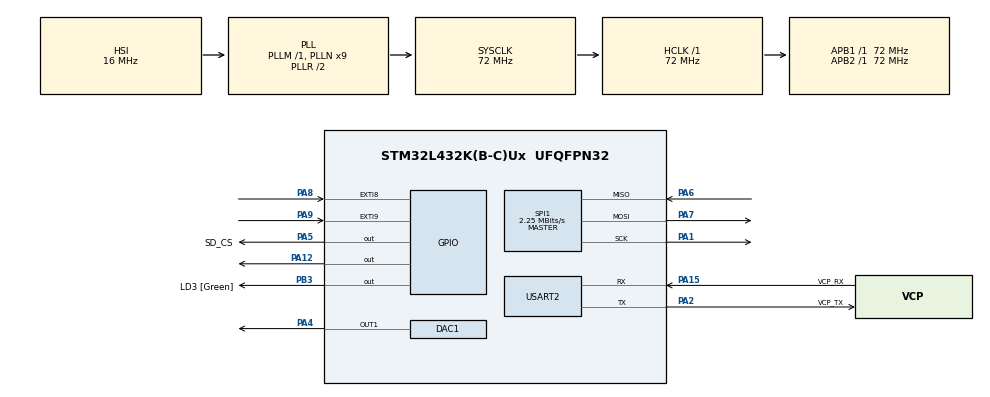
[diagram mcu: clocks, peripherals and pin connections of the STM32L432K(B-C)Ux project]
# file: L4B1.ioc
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DAC1.DAC_SampleAndHold-DAC_OUT1=DAC_SAMPLEANDHOLD_DISABLE
DAC1.DAC_Trigger-DAC_OUT1=DAC_TRIGGER_T2_TRGO
Dma.DAC_CH1.0.Direction=DMA_MEMORY_TO_PERIPH
Dma.DAC_CH1.0.Instance=DMA1_Channel3
Dma.DAC_CH1.0.MemDataAlignment=DMA_MDATAALIGN_BYTE
Dma.DAC_CH1.0.MemInc=DMA_MINC_ENABLE
Dma.DAC_CH1.0.Mode=DMA_CIRCULAR
Dma.DAC_CH1.0.PeriphDataAlignment=DMA_PDATAALIGN_BYTE
Dma.DAC_CH1.0.PeriphInc=DMA_PINC_DISABLE
Dma.DAC_CH1.0.Priority=DMA_PRIORITY_LOW
Dma.Request0=DAC_CH1
Mcu.Family=STM32L4
Mcu.Name=STM32L432K(B-C)Ux
Mcu.Package=UFQFPN32
NVIC.DMA1_Channel3_IRQn=true\:0\:0\:false\:false\:true\:false\:true\:true
NVIC.EXTI9_5_IRQn=true\:0\:0\:false\:false\:true\:true\:true\:true
NVIC.PriorityGroup=NVIC_PRIORITYGROUP_4
PA0.GPIO_Label=MCO [High speed clock in]
PA0.Mode=HSE-External-Clock-Source-for-LittleOrca
PA0.Signal=RCC_CK_IN
PA1.Mode=Full_Duplex_Master
PA1.Signal=SPI1_SCK
PA12.Signal=GPIO_Output
PA13\ (JTMS-SWDIO).GPIO_Label=SWDIO
PA13\ (JTMS-SWDIO).Mode=Serial_Wire
PA13\ (JTMS-SWDIO).Signal=SYS_JTMS-SWDIO
PA14\ (JTCK-SWCLK).GPIO_Label=SWCLK
PA14\ (JTCK-SWCLK).Mode=Serial_Wire
PA14\ (JTCK-SWCLK).Signal=SYS_JTCK-SWCLK
PA15\ (JTDI).GPIO_Label=VCP_RX
PA15\ (JTDI).Mode=Asynchronous
PA15\ (JTDI).Signal=USART2_RX
PA2.GPIO_Label=VCP_TX
PA2.Mode=Asynchronous
PA2.Signal=USART2_TX
PA4.Signal=COMP_DAC11_group
PA5.GPIO_Label=SD_CS
PA5.Signal=GPIO_Output
PA6.Mode=Full_Duplex_Master
PA6.Signal=SPI1_MISO
PA7.Mode=Full_Duplex_Master
PA7.Signal=SPI1_MOSI
PA8.GPIO_PuPd=GPIO_PULLUP
PA8.Signal=GPXTI8
PA9.GPIO_PuPd=GPIO_PULLUP
PA9.Signal=GPXTI9
PB3\ (JTDO-TRACESWO).GPIO_Label=LD3 [Green]
PB3\ (JTDO-TRACESWO).Signal=GPIO_Output
PC14-OSC32_IN\ (PC14).Mode=LSE-External-Oscillator
PC14-OSC32_IN\ (PC14).Signal=RCC_OSC32_IN
PC15-OSC32_OUT\ (PC15).Mode=LSE-External-Oscillator
PC15-OSC32_OUT\ (PC15).Signal=RCC_OSC32_OUT
ProjectManager.HeapSize=0x200
ProjectManager.StackSize=0x400
ProjectManager.TargetToolchain=Makefile
RCC.ADCFreq_Value=64000000
RCC.AHBFreq_Value=72000000
RCC.APB1Freq_Value=72000000
RCC.APB1TimFreq_Value=72000000
RCC.APB2Freq_Value=72000000
RCC.APB2TimFreq_Value=72000000
RCC.CortexFreq_Value=72000000
RCC.HCLKFreq_Value=72000000
RCC.HSE_VALUE=24000000
RCC.HSI16_VALUE=16000000
RCC.HSI48_VALUE=48000000
RCC.HSI_VALUE=16000000
RCC.MSI_VALUE=4000000
RCC.PLLMUL=RCC_PLLMUL_4
RCC.PLLN=9
RCC.PLLSourceVirtual=RCC_PLLSOURCE_HSI
RCC.SYSCLKFreq_VALUE=72000000
RCC.SYSCLKSource=RCC_SYSCLKSOURCE_PLLCLK
RCC.USBFreq_Value=64000000
RCC.VCOOutputFreq_Value=144000000
SH.COMP_DAC11_group.0=DAC1_OUT1,DAC_OUT1
SPI1.BaudRatePrescaler=SPI_BAUDRATEPRESCALER_32
SPI1.CalculateBaudRate=2.25 MBits/s
SPI1.DataSize=SPI_DATASIZE_8BIT
SPI1.Direction=SPI_DIRECTION_2LINES
SPI1.Mode=SPI_MODE_MASTER
SPI1.VirtualType=VM_MASTER
TIM2.AutoReloadPreload=TIM_AUTORELOAD_PRELOAD_ENABLE
TIM2.Period=3266
TIM2.Prescaler=0
TIM2.TIM_MasterOutputTrigger=TIM_TRGO_UPDATE
USART2.VirtualMode-Asynchronous=VM_ASYNC
VP_FATFS_VS_Generic.Mode=User_defined
VP_TIM2_VS_ClockSourceINT.Mode=Internal
board=NUCLEO-L432KC

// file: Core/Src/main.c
/* USER CODE BEGIN Header */
/**
  ******************************************************************************
  * @file           : main.c
  * @brief          : Main program body
  ******************************************************************************
  * @attention
  *
  * Copyright (c) 2023 STMicroelectronics.
  * All rights reserved.
  *
  * This software is licensed under terms that can be found in the LICENSE file
  * in the root directory of this software component.
  * If no LICENSE file comes with this software, it is provided AS-IS.
  *
  ******************************************************************************
  */
/* USER CODE END Header */
#include "main.h"
#include "dac.h"
#include "dma.h"
#include "fatfs.h"
#include "spi.h"
#include "tim.h"
#include "usart.h"
#include "gpio.h"

/* USER CODE BEGIN Includes */
#include <stdio.h>
#include "arm_math.h"
/* USER CODE END Includes */

/* USER CODE BEGIN PD */
#define DMA_buffer 512
#define Block_size 256
#define NUM_TAPS 32
/* USER CODE END PD */

/* USER CODE BEGIN PV */
  uint8_t readBuf[DMA_buffer] = {0};
  float32_t readBuf_f[DMA_buffer] = {0};
  float32_t write_buf[DMA_buffer] = {0};
 //float32_t B_coef[] = {-0.000850f, -0.000570f, -0.000144f, 0.000753f, 0.002481f, 0.005377f, 0.009698f, 0.015569f, 0.022939f, 0.031567f, 0.041027f, 0.050741f, 0.060030f, 0.068190f, 0.074565f, 0.078621f, 0.080014f, 0.078621f, 0.074565f, 0.068190f, 0.060030f, 0.050741f, 0.041027f, 0.031567f, 0.022939f, 0.015569f, 0.009698f, 0.005377f, 0.002481f, 0.000753f, -0.000144f, -0.000570f, -0.000850f};
 float32_t B_coef[] = {-0.001147f, 0.001095f, 0.002327f, -0.001241f, -0.005602f, 0.000293f, 0.011515f, 0.004039f, -0.019769f, -0.014932f, 0.029186f, 0.037734f, -0.037973f, -0.088632f, 0.044222f, 0.312132f, 0.453506f, 0.312132f, 0.044222f, -0.088632f, -0.037973f, 0.037734f, 0.029186f, -0.014932f, -0.019769f, 0.004039f, 0.011515f, 0.000293f, -0.005602f, -0.001241f, 0.002327f, 0.001095f, -0.001147f};
  float32_t firStateF32[Block_size + NUM_TAPS - 1];
  FATFS FatFs; 	//Fatfs handle
  FIL fil; 		//File handle
  FRESULT fres; //Result after operations
  uint8_t bufferState = 0;

/* USER CODE END PV */

void SystemClock_Config(void);
/* USER CODE BEGIN PFP */
void SD_CARD_INIT(void);
/* USER CODE END PFP */

/* USER CODE BEGIN 0 */
DWORD free_clusters, free_sectors, total_sectors;
FATFS* getFreeFs;
UINT read_chars = 1;
/* USER CODE END 0 */

int main(void)
{

  /* MCU Configuration--------------------------------------------------------*/

  /* Reset of all peripherals, Initializes the Flash interface and the Systick. */
  HAL_Init();

  /* Configure the system clock */
  SystemClock_Config();

  /* Initialize all configured peripherals */
  MX_GPIO_Init();
  MX_DMA_Init();
  MX_USART2_UART_Init();
  MX_SPI1_Init();
  MX_TIM2_Init();
  MX_FATFS_Init();
  MX_DAC1_Init();
  /* USER CODE BEGIN 2 */
  arm_fir_instance_f32 S;
  arm_status status;
  arm_fir_init_f32(&S,NUM_TAPS,(float32_t *)&B_coef[0],&firStateF32[0],Block_size);
  SD_CARD_INIT();
  f_read (&fil, readBuf,DMA_buffer, &read_chars);
  HAL_TIM_OC_Start_IT(&htim2,TIM_CHANNEL_4);
  HAL_DAC_Start_DMA(&hdac1,DAC1_CHANNEL_1,(uint32_t *)readBuf, DMA_buffer,DAC_ALIGN_8B_R);

  /* USER CODE END 2 */

  /* Infinite loop */
  /* USER CODE BEGIN WHILE */
  while (1)
  {
    //arm_fir_f32()
    f_lseek(&fil, 0);
    read_chars = 1;

    while(read_chars > 0)
    {
      if(bufferState == 1)
	{

                f_read (&fil, &readBuf[0],DMA_buffer/2, &read_chars);

                for(int i = 0; i < Block_size ; i++)
                {
                  readBuf_f[i] = (float32_t) readBuf[i];
                }
                arm_fir_f32(&S, &readBuf_f[0], &write_buf[0], Block_size);
                for(int i = 0; i < Block_size ; i++)
                {
                  readBuf[i] = (uint8_t)write_buf[i];
                }

		bufferState = 0;
	}
	if(bufferState == 2)
	{

                f_read (&fil, &readBuf[DMA_buffer/2],DMA_buffer/2, &read_chars);

                for(int i = Block_size-1; i < (Block_size *2) ; i++)
                {
                  readBuf_f[i] = (float32_t) readBuf[i];
                }
                arm_fir_f32(&S, &readBuf_f[DMA_buffer/2], &write_buf[DMA_buffer/2], Block_size);
                for(int i = Block_size-1; i < (Block_size *2) ; i++)
                {
                  readBuf[i] = (uint8_t)write_buf[i];
                }

		bufferState = 0;
	}
    }

  //htim2.Init.Period =

  //Be a tidy kiwi - don't forget to close your file!
  //f_close(&fil);

    //HAL_SPI_Transmit(&hspi1,&test,1,HAL_MAX_DELAY);
    /* USER CODE END WHILE */

  }
}

void SystemClock_Config(void)
{
  RCC_OscInitTypeDef RCC_OscInitStruct = {0};
  RCC_ClkInitTypeDef RCC_ClkInitStruct = {0};

  /** Configure the main internal regulator output voltage
  */
  if (HAL_PWREx_ControlVoltageScaling(PWR_REGULATOR_VOLTAGE_SCALE1) != HAL_OK)
  {
    Error_Handler();
  }

  /** Initializes the RCC Oscillators according to the specified parameters
  * in the RCC_OscInitTypeDef structure.
  */
  RCC_OscInitStruct.OscillatorType = RCC_OSCILLATORTYPE_HSI;
  RCC_OscInitStruct.HSIState = RCC_HSI_ON;
  RCC_OscInitStruct.HSICalibrationValue = RCC_HSICALIBRATION_DEFAULT;
  RCC_OscInitStruct.PLL.PLLState = RCC_PLL_ON;
  RCC_OscInitStruct.PLL.PLLSource = RCC_PLLSOURCE_HSI;
  RCC_OscInitStruct.PLL.PLLM = 1;
  RCC_OscInitStruct.PLL.PLLN = 9;
  RCC_OscInitStruct.PLL.PLLP = RCC_PLLP_DIV7;
  RCC_OscInitStruct.PLL.PLLQ = RCC_PLLQ_DIV2;
  RCC_OscInitStruct.PLL.PLLR = RCC_PLLR_DIV2;
  if (HAL_RCC_OscConfig(&RCC_OscInitStruct) != HAL_OK)
  {
    Error_Handler();
  }

  /** Initializes the CPU, AHB and APB buses clocks
  */
  RCC_ClkInitStruct.ClockType = RCC_CLOCKTYPE_HCLK|RCC_CLOCKTYPE_SYSCLK
                              |RCC_CLOCKTYPE_PCLK1|RCC_CLOCKTYPE_PCLK2;
  RCC_ClkInitStruct.SYSCLKSource = RCC_SYSCLKSOURCE_PLLCLK;
  RCC_ClkInitStruct.AHBCLKDivider = RCC_SYSCLK_DIV1;
  RCC_ClkInitStruct.APB1CLKDivider = RCC_HCLK_DIV1;
  RCC_ClkInitStruct.APB2CLKDivider = RCC_HCLK_DIV1;

  if (HAL_RCC_ClockConfig(&RCC_ClkInitStruct, FLASH_LATENCY_4) != HAL_OK)
  {
    Error_Handler();
  }
}

/* USER CODE BEGIN 4 */

void SD_CARD_INIT(void)
{

    fres = f_mount(&FatFs, "", 1); //1=mount now

    if (fres != FR_OK) {
	printf("f_mount error (%i)\r\n", fres);
    }

    DWORD free_clusters, free_sectors, total_sectors;

    FATFS* getFreeFs;

    fres = f_getfree("", &free_clusters, &getFreeFs);
    if (fres != FR_OK) {
	printf("f_getfree error (%i)\r\n", fres);
      }

  //Formula comes from ChaN's documentation
    total_sectors = (getFreeFs->n_fatent - 2) * getFreeFs->csize;
    free_sectors = free_clusters * getFreeFs->csize;

    printf("SD card stats:\r\n %lu KiB total drive space.\r\n %lu KiB available.\r\n", total_sectors / 2, free_sectors / 2);
    //textfile.txt eller snd.wav
    fres = f_open(&fil, "gtb.wav", FA_READ);
    if (fres != FR_OK) {
  	printf("f_open error (%i)\r\n");
  	while(1);
    }
    printf("I was able to open file for reading!\r\n");

}

void HAL_DAC_ConvHalfCpltCallbackCh1(DAC_HandleTypeDef *hdac)
{
 bufferState = 1;
}

void HAL_DAC_ConvCpltCallbackCh1(DAC_HandleTypeDef *hdac)
{
 bufferState = 2;
}

void HAL_GPIO_EXTI_Callback(uint16_t GPIO_Pin)
{
  if(GPIO_Pin == GPIO_PIN_8)
  {
    htim2.Init.Period = htim2.Init.Period - 50;
  }
   if(GPIO_Pin == GPIO_PIN_9)
  {
    htim2.Init.Period = htim2.Init.Period + 50;
  }

  if (HAL_TIM_Base_Init(&htim2) != HAL_OK)
    {
      Error_Handler();
    }

}

/* USER CODE END 4 */

void Error_Handler(void)
{
  __disable_irq();
  while (1)
  {
  }
}
